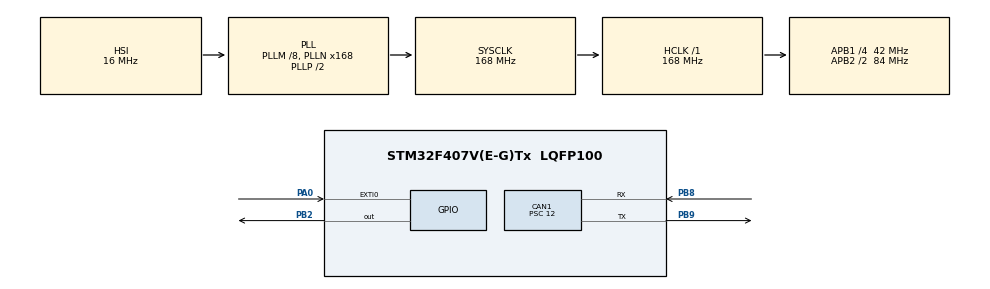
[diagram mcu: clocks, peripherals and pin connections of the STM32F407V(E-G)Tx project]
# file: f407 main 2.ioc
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CAN1.BS1=CAN_BS1_4TQ
CAN1.BS2=CAN_BS2_2TQ
CAN1.CalculateBaudRate=500000
CAN1.CalculateTimeBit=2000
CAN1.CalculateTimeQuantum=285.7142857142857
CAN1.Prescaler=12
Mcu.Family=STM32F4
Mcu.Name=STM32F407V(E-G)Tx
Mcu.Package=LQFP100
NVIC.CAN1_RX0_IRQn=true\:0\:0\:false\:false\:true\:true\:true\:true
NVIC.EXTI0_IRQn=true\:0\:0\:false\:false\:true\:true\:true\:true
NVIC.PriorityGroup=NVIC_PRIORITYGROUP_4
PA0-WKUP.Signal=GPXTI0
PB2.Signal=GPIO_Output
PB8.Mode=CAN_Activate
PB8.Signal=CAN1_RX
PB9.Mode=CAN_Activate
PB9.Signal=CAN1_TX
PH0-OSC_IN.Mode=HSE-External-Oscillator
PH0-OSC_IN.Signal=RCC_OSC_IN
PH1-OSC_OUT.Mode=HSE-External-Oscillator
PH1-OSC_OUT.Signal=RCC_OSC_OUT
ProjectManager.HeapSize=0x200
ProjectManager.StackSize=0x400
ProjectManager.TargetToolchain=MDK-ARM V5.32
RCC.48MHZClocksFreq_Value=84000000
RCC.AHBFreq_Value=168000000
RCC.APB1CLKDivider=RCC_HCLK_DIV4
RCC.APB1Freq_Value=42000000
RCC.APB1TimFreq_Value=84000000
RCC.APB2CLKDivider=RCC_HCLK_DIV2
RCC.APB2Freq_Value=84000000
RCC.APB2TimFreq_Value=168000000
RCC.CortexFreq_Value=168000000
RCC.HCLKFreq_Value=168000000
RCC.HSE_VALUE=25000000
RCC.HSI_VALUE=16000000
RCC.LSE_VALUE=32768
RCC.PLLM=8
RCC.PLLN=168
RCC.SYSCLKFreq_VALUE=168000000
RCC.SYSCLKSource=RCC_SYSCLKSOURCE_PLLCLK
RCC.VCOOutputFreq_Value=336000000
board=custom

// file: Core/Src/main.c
/* USER CODE BEGIN Header */
/**
  ******************************************************************************
  * @file           : main.c
  * @brief          : Main program body
  ******************************************************************************
  * @attention
  *
  * Copyright (c) 2024 STMicroelectronics.
  * All rights reserved.
  *
  * This software is licensed under terms that can be found in the LICENSE file
  * in the root directory of this software component.
  * If no LICENSE file comes with this software, it is provided AS-IS.
  *
  ******************************************************************************
  */
/* USER CODE END Header */
#include "main.h"

CAN_HandleTypeDef hcan1;

void SystemClock_Config(void);
static void MX_GPIO_Init(void);
static void MX_CAN1_Init(void);

/* USER CODE BEGIN 0 */
// Khai bao bien
CAN_TxHeaderTypeDef TxHeader;
CAN_RxHeaderTypeDef RxHeader;

uint8_t TxData[8];
uint8_t RxData[8];

uint32_t TxMailbox;

int datacheck = 0;
// Ngat ngoai kich hoat nut bam
void HAL_GPIO_EXTI_Callback(uint16_t GPIO_Pin)
{
	if (GPIO_Pin == GPIO_PIN_0)
	{
		TxData[0] = 100;   // ms Delay
		TxData[1] = 40;    // so lan loop

		HAL_CAN_AddTxMessage(&hcan1, &TxHeader, TxData, &TxMailbox); // Gui thong tin di
	}
}

// Ngat ngoai khi thong tin ve
void HAL_CAN_RxFifo0MsgPendingCallback(CAN_HandleTypeDef *hcan)
{
	HAL_CAN_GetRxMessage(hcan, CAN_RX_FIFO0, &RxHeader, RxData);
	if (RxHeader.DLC == 2) // kiem tra thong tin nhan ve
	{
		datacheck = 1;
	}
}
/* USER CODE END 0 */

int main(void)
{

  /* MCU Configuration--------------------------------------------------------*/

  /* Reset of all peripherals, Initializes the Flash interface and the Systick. */
  HAL_Init();

  /* Configure the system clock */
  SystemClock_Config();

  /* Initialize all configured peripherals */
  MX_GPIO_Init();
  MX_CAN1_Init();
  /* USER CODE BEGIN 2 */
  HAL_CAN_Start(&hcan1);

  // Kich hoat thong bao
  HAL_CAN_ActivateNotification(&hcan1, CAN_IT_RX_FIFO0_MSG_PENDING);

  TxHeader.DLC = 2;  // data length
  TxHeader.IDE = CAN_ID_STD;
  TxHeader.RTR = CAN_RTR_DATA;
  TxHeader.StdId = 0x407;  // ID

  /* USER CODE END 2 */

  /* Infinite loop */
  while (1)
  {

    /* USER CODE BEGIN 3 */
	  if (datacheck)
	  {
		  // blink the LED
		  for (int i=0; i<RxData[1]; i++)
		  {
			  HAL_GPIO_TogglePin(GPIOB, GPIO_PIN_2);
			  HAL_Delay(RxData[0]);
		  }

		  datacheck = 0;

			TxData[0] = 100;   // ms Delay
			TxData[1] = 40;    // so lan loop

			HAL_CAN_AddTxMessage(&hcan1, &TxHeader, TxData, &TxMailbox); // Gui lai thong tin cho f103
	  }
  }
  /* USER CODE END 3 */
}

void SystemClock_Config(void)
{
  RCC_OscInitTypeDef RCC_OscInitStruct = {0};
  RCC_ClkInitTypeDef RCC_ClkInitStruct = {0};

  /** Configure the main internal regulator output voltage
  */
  __HAL_RCC_PWR_CLK_ENABLE();
  __HAL_PWR_VOLTAGESCALING_CONFIG(PWR_REGULATOR_VOLTAGE_SCALE1);

  /** Initializes the RCC Oscillators according to the specified parameters
  * in the RCC_OscInitTypeDef structure.
  */
  RCC_OscInitStruct.OscillatorType = RCC_OSCILLATORTYPE_HSI;
  RCC_OscInitStruct.HSIState = RCC_HSI_ON;
  RCC_OscInitStruct.HSICalibrationValue = RCC_HSICALIBRATION_DEFAULT;
  RCC_OscInitStruct.PLL.PLLState = RCC_PLL_ON;
  RCC_OscInitStruct.PLL.PLLSource = RCC_PLLSOURCE_HSI;
  RCC_OscInitStruct.PLL.PLLM = 8;
  RCC_OscInitStruct.PLL.PLLN = 168;
  RCC_OscInitStruct.PLL.PLLP = RCC_PLLP_DIV2;
  RCC_OscInitStruct.PLL.PLLQ = 4;
  if (HAL_RCC_OscConfig(&RCC_OscInitStruct) != HAL_OK)
  {
    Error_Handler();
  }

  /** Initializes the CPU, AHB and APB buses clocks
  */
  RCC_ClkInitStruct.ClockType = RCC_CLOCKTYPE_HCLK|RCC_CLOCKTYPE_SYSCLK
                              |RCC_CLOCKTYPE_PCLK1|RCC_CLOCKTYPE_PCLK2;
  RCC_ClkInitStruct.SYSCLKSource = RCC_SYSCLKSOURCE_PLLCLK;
  RCC_ClkInitStruct.AHBCLKDivider = RCC_SYSCLK_DIV1;
  RCC_ClkInitStruct.APB1CLKDivider = RCC_HCLK_DIV4;
  RCC_ClkInitStruct.APB2CLKDivider = RCC_HCLK_DIV2;

  if (HAL_RCC_ClockConfig(&RCC_ClkInitStruct, FLASH_LATENCY_5) != HAL_OK)
  {
    Error_Handler();
  }
}

static void MX_CAN1_Init(void)
{

  hcan1.Instance = CAN1;
  hcan1.Init.Prescaler = 12;
  hcan1.Init.Mode = CAN_MODE_NORMAL;
  hcan1.Init.SyncJumpWidth = CAN_SJW_1TQ;
  hcan1.Init.TimeSeg1 = CAN_BS1_4TQ;
  hcan1.Init.TimeSeg2 = CAN_BS2_2TQ;
  hcan1.Init.TimeTriggeredMode = DISABLE;
  hcan1.Init.AutoBusOff = DISABLE;
  hcan1.Init.AutoWakeUp = DISABLE;
  hcan1.Init.AutoRetransmission = DISABLE;
  hcan1.Init.ReceiveFifoLocked = DISABLE;
  hcan1.Init.TransmitFifoPriority = DISABLE;
  if (HAL_CAN_Init(&hcan1) != HAL_OK)
  {
    Error_Handler();
  }
  /* USER CODE BEGIN CAN1_Init 2 */
  // Thiet lap bo loc
  CAN_FilterTypeDef canfilterconfig;

  canfilterconfig.FilterActivation = CAN_FILTER_ENABLE;
  canfilterconfig.FilterBank = 18;
  canfilterconfig.FilterFIFOAssignment = CAN_FILTER_FIFO0;
  canfilterconfig.FilterIdHigh = 0x103<<5;
  canfilterconfig.FilterIdLow = 0;
  canfilterconfig.FilterMaskIdHigh = 0x103<<5;
  canfilterconfig.FilterMaskIdLow = 0x0000;
  canfilterconfig.FilterMode = CAN_FILTERMODE_IDMASK;
  canfilterconfig.FilterScale = CAN_FILTERSCALE_32BIT;
  canfilterconfig.SlaveStartFilterBank = 21;

  HAL_CAN_ConfigFilter(&hcan1, &canfilterconfig);

  /* USER CODE END CAN1_Init 2 */

}

static void MX_GPIO_Init(void)
{
  GPIO_InitTypeDef GPIO_InitStruct = {0};

  /* GPIO Ports Clock Enable */
  __HAL_RCC_GPIOH_CLK_ENABLE();
  __HAL_RCC_GPIOA_CLK_ENABLE();
  __HAL_RCC_GPIOB_CLK_ENABLE();

  /*Configure GPIO pin Output Level */
  HAL_GPIO_WritePin(GPIOB, GPIO_PIN_2, GPIO_PIN_RESET);

  /*Configure GPIO pin : PA0 */
  GPIO_InitStruct.Pin = GPIO_PIN_0;
  GPIO_InitStruct.Mode = GPIO_MODE_IT_RISING;
  GPIO_InitStruct.Pull = GPIO_NOPULL;
  HAL_GPIO_Init(GPIOA, &GPIO_InitStruct);

  /*Configure GPIO pin : PB2 */
  GPIO_InitStruct.Pin = GPIO_PIN_2;
  GPIO_InitStruct.Mode = GPIO_MODE_OUTPUT_PP;
  GPIO_InitStruct.Pull = GPIO_NOPULL;
  GPIO_InitStruct.Speed = GPIO_SPEED_FREQ_LOW;
  HAL_GPIO_Init(GPIOB, &GPIO_InitStruct);

  /* EXTI interrupt init*/
  HAL_NVIC_SetPriority(EXTI0_IRQn, 0, 0);
  HAL_NVIC_EnableIRQ(EXTI0_IRQn);

}

void Error_Handler(void)
{
  __disable_irq();
  while (1)
  {
  }
}
